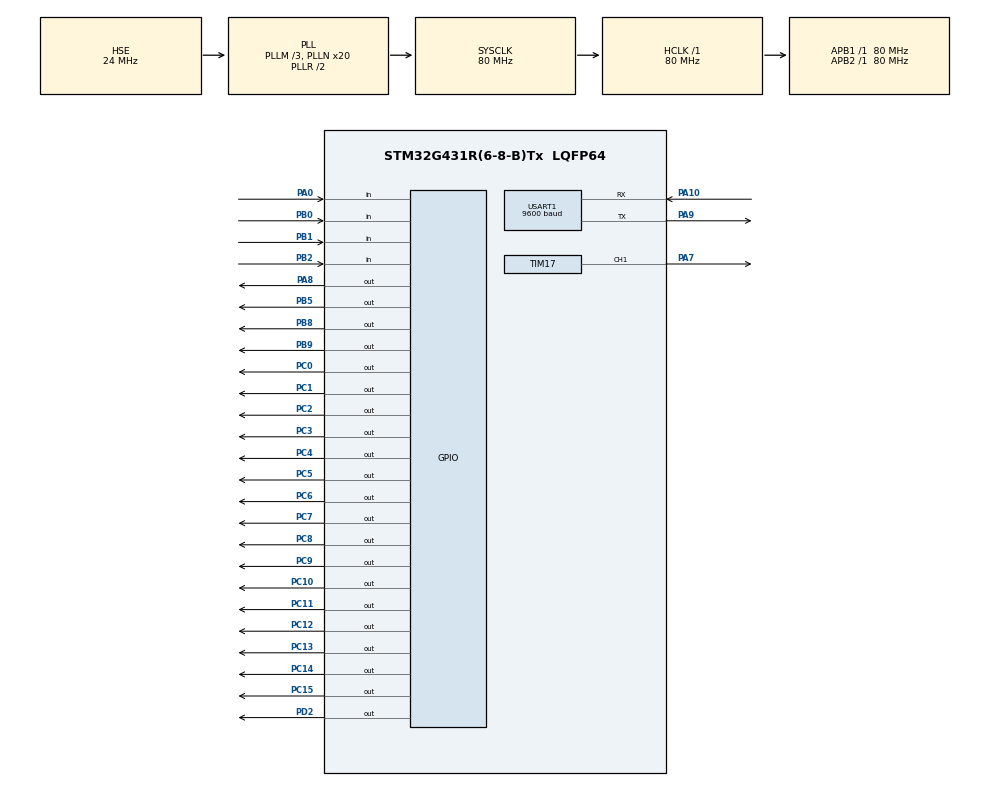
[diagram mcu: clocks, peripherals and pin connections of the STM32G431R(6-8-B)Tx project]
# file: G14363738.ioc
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Mcu.Family=STM32G4
Mcu.Name=STM32G431R(6-8-B)Tx
Mcu.Package=LQFP64
NVIC.PriorityGroup=NVIC_PRIORITYGROUP_4
NVIC.TIM3_IRQn=true\:0\:0\:false\:false\:true\:true\:true\:true
NVIC.USART1_IRQn=true\:0\:0\:false\:false\:true\:true\:true\:true
PA0.GPIO_Mode=GPIO_MODE_INPUT
PA0.GPIO_PuPd=GPIO_PULLUP
PA0.Signal=GPIO_Input
PA10.Mode=Asynchronous
PA10.Signal=USART1_RX
PA13.Mode=Serial_Wire
PA13.Signal=SYS_JTMS-SWDIO
PA14.Mode=Serial_Wire
PA14.Signal=SYS_JTCK-SWCLK
PA7.Signal=S_TIM17_CH1
PA8.Signal=GPIO_Output
PA9.Mode=Asynchronous
PA9.Signal=USART1_TX
PB0.GPIO_Mode=GPIO_MODE_INPUT
PB0.GPIO_PuPd=GPIO_PULLUP
PB0.Signal=GPIO_Input
PB1.GPIO_Mode=GPIO_MODE_INPUT
PB1.GPIO_PuPd=GPIO_PULLUP
PB1.Signal=GPIO_Input
PB2.GPIO_Mode=GPIO_MODE_INPUT
PB2.GPIO_PuPd=GPIO_PULLUP
PB2.Signal=GPIO_Input
PB5.Signal=GPIO_Output
PB8-BOOT0.Signal=GPIO_Output
PB9.Signal=GPIO_Output
PC0.Signal=GPIO_Output
PC1.Signal=GPIO_Output
PC10.GPIO_PuPd=GPIO_PULLUP
PC10.Signal=GPIO_Output
PC11.GPIO_PuPd=GPIO_PULLUP
PC11.Signal=GPIO_Output
PC12.GPIO_PuPd=GPIO_PULLUP
PC12.Signal=GPIO_Output
PC13.GPIO_PuPd=GPIO_PULLUP
PC13.Signal=GPIO_Output
PC14-OSC32_IN.GPIO_PuPd=GPIO_PULLUP
PC14-OSC32_IN.Signal=GPIO_Output
PC15-OSC32_OUT.GPIO_PuPd=GPIO_PULLUP
PC15-OSC32_OUT.Signal=GPIO_Output
PC2.Signal=GPIO_Output
PC3.Signal=GPIO_Output
PC4.Signal=GPIO_Output
PC5.Signal=GPIO_Output
PC6.Signal=GPIO_Output
PC7.Signal=GPIO_Output
PC8.GPIO_PuPd=GPIO_PULLUP
PC8.Signal=GPIO_Output
PC9.Signal=GPIO_Output
PD2.Signal=GPIO_Output
PF0-OSC_IN.Mode=HSE-External-Oscillator
PF0-OSC_IN.Signal=RCC_OSC_IN
PF1-OSC_OUT.Mode=HSE-External-Oscillator
PF1-OSC_OUT.Signal=RCC_OSC_OUT
ProjectManager.HeapSize=0x200
ProjectManager.StackSize=0x400
ProjectManager.TargetToolchain=MDK-ARM V5.32
RCC.ADC12Freq_Value=80000000
RCC.AHBFreq_Value=80000000
RCC.APB1Freq_Value=80000000
RCC.APB1TimFreq_Value=80000000
RCC.APB2Freq_Value=80000000
RCC.APB2TimFreq_Value=80000000
RCC.CortexFreq_Value=80000000
RCC.EXTERNAL_CLOCK_VALUE=12288000
RCC.HCLKFreq_Value=80000000
RCC.HSE_VALUE=24000000
RCC.HSI48_VALUE=48000000
RCC.HSI_VALUE=16000000
RCC.LSE_VALUE=32768
RCC.PLLM=RCC_PLLM_DIV3
RCC.PLLN=20
RCC.PLLSourceVirtual=RCC_PLLSOURCE_HSE
RCC.SYSCLKFreq_VALUE=80000000
RCC.SYSCLKSource=RCC_SYSCLKSOURCE_PLLCLK
RCC.USBFreq_Value=80000000
RCC.VCOOutputFreq_Value=160000000
SH.S_TIM17_CH1.0=TIM17_CH1,PWM Generation1 CH1
TIM17.Channel=TIM_CHANNEL_1
TIM17.PeriodNoDither=100-1
TIM17.Prescaler=400-1
TIM17.PulseNoDither_1=20
TIM3.PeriodNoDither=10000-1
TIM3.Prescaler=80-1
USART1.BaudRate=9600
USART1.VirtualMode-Asynchronous=VM_ASYNC
VP_SYS_VS_DBSignals.Mode=DisableDeadBatterySignals
VP_TIM17_VS_ClockSourceINT.Mode=Enable_Timer
VP_TIM3_VS_ClockSourceINT.Mode=Internal
board=custom

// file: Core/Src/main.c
/* USER CODE BEGIN Header */
/**
  ******************************************************************************
  * @file           : main.c
  * @brief          : Main program body
  ******************************************************************************
  * @attention
  *
  * Copyright (c) 2023 STMicroelectronics.
  * All rights reserved.
  *
  * This software is licensed under terms that can be found in the LICENSE file
  * in the root directory of this software component.
  * If no LICENSE file comes with this software, it is provided AS-IS.
  *
  ******************************************************************************
  */
/* USER CODE END Header */
#include "main.h"
#include "tim.h"
#include "usart.h"
#include "gpio.h"

/* USER CODE BEGIN Includes */
#include "led.h"
#include "lcd.h"
#include "interrupt.h"
#include "stdio.h"
#include "string.h"
#include "stdbool.h"
/* USER CODE END Includes */

/* USER CODE BEGIN PTD */
extern struct keys key[4];
extern char rxbuffer[30];
extern unsigned char rxindex;
extern unsigned char rxdat;

unsigned char view=0;
unsigned char control = 0;
unsigned char led_flag=0;
unsigned char LED;
unsigned char CN_BR=0;
unsigned char VN_BR=0;
unsigned char ID_LE=8;
float cnbr_price=3.50;
float vnbr_price=2.00;
unsigned char ParkType[8][5];
unsigned char ParkCode[8][5];
unsigned char ParkTime[8][13];
unsigned char ParkFlag[8];

unsigned char RxParkType[5];
unsigned char RxParkCode[5];
unsigned char RxParkTime[13];
unsigned char EmptyIndex;
void key_pro(void);
void rx_pro(void);
void view_pro(void);
void control_PA7(void);
void led_control(void);
/* USER CODE END PTD */

void SystemClock_Config(void);

int main(void)
{

  /* MCU Configuration--------------------------------------------------------*/

  /* Reset of all peripherals, Initializes the Flash interface and the Systick. */
  HAL_Init();

  /* Configure the system clock */
  SystemClock_Config();

  /* Initialize all configured peripherals */
  MX_GPIO_Init();
  MX_TIM3_Init();
  MX_TIM17_Init();
  MX_USART1_UART_Init();
  /* USER CODE BEGIN 2 */
  LCD_Init();
  HAL_TIM_Base_Start_IT(&htim3);
  HAL_UART_Receive_IT(&huart1,&rxdat,1);
  HAL_TIM_PWM_Start(&htim17,TIM_CHANNEL_1);
  /* USER CODE END 2 */
	LCD_Clear(Black);
	LCD_SetBackColor(Black);
	LCD_SetTextColor(White);

	led_disp(0);
  /* Infinite loop */
  while (1)
  {
	if(rxindex!=0)
	{
		unsigned char temp =rxindex;
		HAL_Delay(1);
		if(temp == rxindex)
			rx_pro();
	}
	key_pro();
	view_pro();
	control_PA7();
	led_control();
	led_disp(LED);
  }
}

void SystemClock_Config(void)
{
  RCC_OscInitTypeDef RCC_OscInitStruct = {0};
  RCC_ClkInitTypeDef RCC_ClkInitStruct = {0};

  /** Configure the main internal regulator output voltage
  */
  HAL_PWREx_ControlVoltageScaling(PWR_REGULATOR_VOLTAGE_SCALE1);

  /** Initializes the RCC Oscillators according to the specified parameters
  * in the RCC_OscInitTypeDef structure.
  */
  RCC_OscInitStruct.OscillatorType = RCC_OSCILLATORTYPE_HSE;
  RCC_OscInitStruct.HSEState = RCC_HSE_ON;
  RCC_OscInitStruct.PLL.PLLState = RCC_PLL_ON;
  RCC_OscInitStruct.PLL.PLLSource = RCC_PLLSOURCE_HSE;
  RCC_OscInitStruct.PLL.PLLM = RCC_PLLM_DIV3;
  RCC_OscInitStruct.PLL.PLLN = 20;
  RCC_OscInitStruct.PLL.PLLP = RCC_PLLP_DIV2;
  RCC_OscInitStruct.PLL.PLLQ = RCC_PLLQ_DIV2;
  RCC_OscInitStruct.PLL.PLLR = RCC_PLLR_DIV2;
  if (HAL_RCC_OscConfig(&RCC_OscInitStruct) != HAL_OK)
  {
    Error_Handler();
  }

  /** Initializes the CPU, AHB and APB buses clocks
  */
  RCC_ClkInitStruct.ClockType = RCC_CLOCKTYPE_HCLK|RCC_CLOCKTYPE_SYSCLK
                              |RCC_CLOCKTYPE_PCLK1|RCC_CLOCKTYPE_PCLK2;
  RCC_ClkInitStruct.SYSCLKSource = RCC_SYSCLKSOURCE_PLLCLK;
  RCC_ClkInitStruct.AHBCLKDivider = RCC_SYSCLK_DIV1;
  RCC_ClkInitStruct.APB1CLKDivider = RCC_HCLK_DIV1;
  RCC_ClkInitStruct.APB2CLKDivider = RCC_HCLK_DIV1;

  if (HAL_RCC_ClockConfig(&RCC_ClkInitStruct, FLASH_LATENCY_2) != HAL_OK)
  {
    Error_Handler();
  }
}

/* USER CODE BEGIN 4 */
void key_pro()
{
	if(key[0].single_flag==1)
	{
		key[0].single_flag=0;
		view+=1;
		if(view>1)
			view=0;
	}
	if(key[1].single_flag==1)
	{
		key[1].single_flag=0;
		if(view==1)
		{
			cnbr_price+=0.5f;
			vnbr_price+=0.5f;
		}
	}
	if(key[2].single_flag==1)
	{
		key[2].single_flag=0;
		if(view==1)
		{
			cnbr_price-=0.5f;
			vnbr_price-=0.5f;
		}
	}
	if(key[3].single_flag==1)
	{
		key[3].single_flag=0;
		control+=1;
		if(control>1)
			control=0;
}
	}

unsigned char find_emptycar(void)
{
	unsigned char i=0;
	for(i = 0;i<8;i++)
	{
		if(ParkFlag[i]==0)
		{
			break;
		}
	}
	return i;
}

unsigned char Find_ParkedCar(unsigned char *fParkType, unsigned char *fParkCode)
{
	unsigned char i = 0;
	for(i = 0; i < 8; i++)
	{
		if((strncmp(ParkType[i], fParkType, 4) == 0) && (strncmp(ParkCode[i], fParkCode, 4) == 0))
		{
			break;
		}
	}
	return i;
}

void rx_pro()
{
	unsigned char numok;
	for(unsigned int j=10;j<22;j++)
	{
		if(rxbuffer[j]<='9'&&rxbuffer[j]>='0')
			numok=1;
		else
		{
			numok=0;
			break;
		}
	}
	if(rxindex==22&&(strncmp(rxbuffer,"VNBR",4)==0||strncmp(rxbuffer,"CNBR",4)==0)&&numok)
	{
		sscanf(rxbuffer, "%4s:%4s:%12s", RxParkType, RxParkCode, RxParkTime);
		unsigned char ParkedIndex = Find_ParkedCar(RxParkType, RxParkCode);
		if(ParkedIndex==8)
		{
			EmptyIndex=find_emptycar();
			if(EmptyIndex==8)
			{
				char temp[20];
				sprintf(temp,"Error\n");
				HAL_UART_Transmit(&huart1,(uint8_t *)temp,strlen(temp),50);
			}
			else{
				if(strncmp("CNBR", RxParkType,4) == 0)
					{
						CN_BR++;
						ID_LE--;
					}
				if(strncmp("VNBR", RxParkType,4) == 0)
					{
						VN_BR++;
						ID_LE--;
					}
				strcpy(ParkType[EmptyIndex],RxParkType);
				strcpy(ParkCode[EmptyIndex], RxParkCode);
				strcpy(ParkTime[EmptyIndex], RxParkTime);
				ParkFlag[EmptyIndex] = 1;
			}
		}
else
		{
			unsigned int dayin, dayout;
			unsigned int hourin, hourout;
			int MandSin, MandSout;
			dayin = (ParkTime[ParkedIndex][4] - '0') * 10 + (ParkTime[ParkedIndex][5] - '0');
			dayout = (RxParkTime[4] - '0') * 10 + (RxParkTime[5] - '0');
			unsigned char daylong = dayout - dayin;
			hourin = (ParkTime[ParkedIndex][6] - '0') * 10 + (ParkTime[ParkedIndex][7] - '0');
			hourout = (RxParkTime[6] - '0') * 10 + (RxParkTime[7] - '0');
			unsigned char hourlong = (hourout + daylong * 24) - hourin;
			MandSin = (ParkTime[ParkedIndex][8] - '0') * 1000 + (ParkTime[ParkedIndex][9] - '0') * 100 + (ParkTime[ParkedIndex][10] - '0') * 10 + ParkTime[ParkedIndex][11] - '0';
			MandSout = (RxParkTime[8] - '0') * 1000 + (RxParkTime[9] - '0') * 100 + (RxParkTime[10] - '0') * 10 + RxParkTime[11] - '0';
			if(MandSout - MandSin > 0)
				hourlong ++;
			if(strncmp("CNBR", RxParkType, 4) == 0)
			{
					char temp[30];
					sprintf(temp,"%4s:%4s:%02d:%.2f\n", ParkType[ParkedIndex], ParkCode[ParkedIndex], hourlong, hourlong * cnbr_price);
					HAL_UART_Transmit(&huart1,(uint8_t *)temp,strlen(temp),50);
					CN_BR--;
					ID_LE++;
			}

			if(strncmp("VNBR", RxParkType, 4) == 0)
			{
					char temp[30];
					sprintf(temp,"%4s:%4s:%02d:%.2f\n", ParkType[ParkedIndex], ParkCode[ParkedIndex], hourlong, hourlong * vnbr_price);
					HAL_UART_Transmit(&huart1,(uint8_t *)temp,strlen(temp),50);
					VN_BR--;
					ID_LE++;
			}

			strcpy(ParkType[ParkedIndex], "0");
			strcpy(ParkCode[ParkedIndex], "0");
			strcpy(ParkTime[ParkedIndex], "0");
			ParkFlag[ParkedIndex] = 0;
		}
	}
	else
	{
		char temp[20];
		sprintf(temp,"Error\n");
		HAL_UART_Transmit(&huart1,(uint8_t *)temp,strlen(temp),50);
	}
	rxindex=0;
	memset(rxbuffer,0,30);
}

void view_pro()
{
	if(view==0)
	{
		LCD_DisplayStringLine(Line1,(uint8_t *)"       Data    ");
		char text[30];
		sprintf(text,"   CNBR:%d     ",CN_BR);
		LCD_DisplayStringLine(Line3,(uint8_t *)text);
		sprintf(text,"   VNBR:%d     ",VN_BR);
		LCD_DisplayStringLine(Line5,(uint8_t *)text);
		sprintf(text,"   IDLE:%d     ",ID_LE);
		LCD_DisplayStringLine(Line7,(uint8_t *)text);
	}
	if(view==1)
	{
	LCD_DisplayStringLine(Line1,(uint8_t *)"       Para       ");
	char text[30];
	sprintf(text,"   CNBR:%.2f      ",cnbr_price);
	LCD_DisplayStringLine(Line3,(uint8_t *)text);
	sprintf(text,"   VNBR:%.2f      ",vnbr_price);
	LCD_DisplayStringLine(Line5,(uint8_t *)text);
	LCD_DisplayStringLine(Line7,(uint8_t *)"                   ");
	}
}
void control_PA7()
{
	if(control==0)
	{
		__HAL_TIM_SET_PRESCALER(&htim17,400-1);
		__HAL_TIM_SET_AUTORELOAD(&htim17,100-1);
		__HAL_TIM_SET_COMPARE(&htim17,TIM_CHANNEL_1,20);
		HAL_TIM_GenerateEvent(&htim17,TIM_EVENTSOURCE_UPDATE);
		led_flag=1;
	}
	else
	{
		__HAL_TIM_SET_COMPARE(&htim17,TIM_CHANNEL_1,0);
		HAL_TIM_GenerateEvent(&htim17,TIM_EVENTSOURCE_UPDATE);
		led_flag=0;
	}
}
void led_control()
{
	if(ID_LE)
	{

		LED=LED & 0xfe|0x01;
	}
	else
	{
		LED=LED &0xfe;
	}
	if(led_flag==1)
	{
		LED=LED&0xcf|0x30;
	}
	else
	{
		LED=LED&0xcf;
	}
}
/* USER CODE END 4 */

void Error_Handler(void)
{
  __disable_irq();
  while (1)
  {
  }
}
